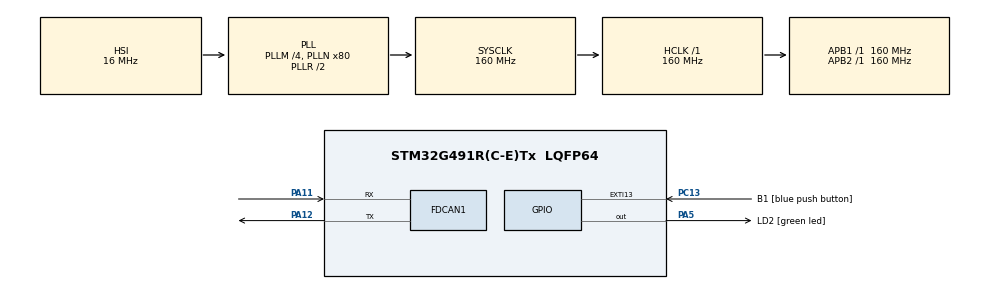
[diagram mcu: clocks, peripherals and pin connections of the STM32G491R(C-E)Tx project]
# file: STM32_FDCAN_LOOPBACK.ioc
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FDCAN1.CalculateBaudRateNominal=50000
FDCAN1.CalculateTimeBitNominal=20000
FDCAN1.CalculateTimeQuantumNominal=800.0
FDCAN1.DataPrescaler=32
FDCAN1.DataSyncJumpWidth=3
FDCAN1.DataTimeSeg1=20
FDCAN1.DataTimeSeg2=4
FDCAN1.FrameFormat=FDCAN_FRAME_FD_NO_BRS
FDCAN1.Mode=FDCAN_MODE_INTERNAL_LOOPBACK
FDCAN1.NominalPrescaler=32
FDCAN1.NominalSyncJumpWidth=3
FDCAN1.NominalTimeSeg1=20
FDCAN1.NominalTimeSeg2=4
FDCAN1.StdFiltersNbr=1
Mcu.Family=STM32G4
Mcu.Name=STM32G491R(C-E)Tx
Mcu.Package=LQFP64
NVIC.EXTI15_10_IRQn=true\:0\:0\:false\:false\:true\:true\:true\:true
NVIC.FDCAN1_IT0_IRQn=true\:0\:0\:false\:false\:true\:true\:true\:true
NVIC.FDCAN1_IT1_IRQn=true\:0\:0\:false\:false\:true\:true\:true\:true
NVIC.PriorityGroup=NVIC_PRIORITYGROUP_4
PA11.Mode=FDCAN_Activate
PA11.Signal=FDCAN1_RX
PA12.Mode=FDCAN_Activate
PA12.Signal=FDCAN1_TX
PA13.GPIO_Label=T_SWDIO
PA13.Signal=SYS_JTMS-SWDIO
PA14.GPIO_Label=T_SWCLK
PA14.Signal=SYS_JTCK-SWCLK
PA2.GPIO_Label=LPUART1_TX [STLINKV3E_VCP_RX]
PA2.Signal=LPUART1_TX
PA3.GPIO_Label=LPUART1_RX [STLINKV3E_VCP_TX]
PA3.Signal=LPUART1_RX
PA5.GPIO_Label=LD2 [green led]
PA5.Signal=GPIO_Output
PB3.GPIO_Label=T_SWO
PB3.Signal=SYS_JTDO-SWO
PC13.GPIO_Label=B1 [blue push button]
PC13.Signal=GPXTI13
PC14-OSC32_IN.GPIO_Label=RCC_OSC32_IN
PC14-OSC32_IN.Signal=RCC_OSC32_IN
PC15-OSC32_OUT.GPIO_Label=RCC_OSC32_OUT
PC15-OSC32_OUT.Signal=RCC_OSC32_OUT
PF0-OSC_IN.GPIO_Label=RCC_OSC_IN
PF0-OSC_IN.Signal=RCC_OSC_IN
PF1-OSC_OUT.GPIO_Label=RCC_OSC_OUT
PF1-OSC_OUT.Signal=RCC_OSC_OUT
ProjectManager.HeapSize=0x200
ProjectManager.StackSize=0x400
ProjectManager.TargetToolchain=STM32CubeIDE
RCC.ADC12Freq_Value=160000000
RCC.ADC345Freq_Value=160000000
RCC.AHBFreq_Value=160000000
RCC.APB1Freq_Value=160000000
RCC.APB1TimFreq_Value=160000000
RCC.APB2Freq_Value=160000000
RCC.APB2TimFreq_Value=160000000
RCC.CortexFreq_Value=160000000
RCC.EXTERNAL_CLOCK_VALUE=12288000
RCC.FDCANCLockSelection=RCC_FDCANCLKSOURCE_PLL
RCC.HCLKFreq_Value=160000000
RCC.HSE_VALUE=24000000
RCC.HSI48_VALUE=48000000
RCC.HSI_VALUE=16000000
RCC.LSE_VALUE=32768
RCC.PLLM=RCC_PLLM_DIV4
RCC.PLLN=80
RCC.PLLQ=RCC_PLLQ_DIV8
RCC.RTCClockSelection=RCC_RTCCLKSOURCE_LSE
RCC.SYSCLKFreq_VALUE=160000000
RCC.SYSCLKSource=RCC_SYSCLKSOURCE_PLLCLK
RCC.USBFreq_Value=48000000
RCC.VCOOutputFreq_Value=320000000
VP_SYS_VS_DBSignals.Mode=DisableDeadBatterySignals
board=NUCLEO-G491RE

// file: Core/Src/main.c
/* USER CODE BEGIN Header */
/**
  ******************************************************************************
  * @file           : main.c
  * @brief          : Main program body
  ******************************************************************************
  * @attention
  *
  * Copyright (c) 2025 STMicroelectronics.
  * All rights reserved.
  *
  * This software is licensed under terms that can be found in the LICENSE file
  * in the root directory of this software component.
  * If no LICENSE file comes with this software, it is provided AS-IS.
  *
  ******************************************************************************
  */
/* USER CODE END Header */
#include "main.h"

/* USER CODE BEGIN Includes */
uint8_t  Tx[10];
uint8_t  Rx[10];

static FDCAN_TxHeaderTypeDef   Tx_header;
/* USER CODE END Includes */

/* USER CODE BEGIN PTD */
void HAL_FDCAN_RxFifo0Callback(FDCAN_HandleTypeDef *hfdcan, uint32_t RxFifo0ITs)
{
  FDCAN_RxHeaderTypeDef   RxHeader;
  if((RxFifo0ITs & FDCAN_IT_RX_FIFO0_NEW_MESSAGE) != RESET)
  {
    /* Retreive Rx messages from RX FIFO0 */
    if (HAL_FDCAN_GetRxMessage(hfdcan, FDCAN_RX_FIFO0, &RxHeader, Rx) != HAL_OK)
    {
    /* Reception Error */
    Error_Handler();
    }
    if (HAL_FDCAN_ActivateNotification(hfdcan, FDCAN_IT_RX_FIFO0_NEW_MESSAGE, 0) != HAL_OK)
    {
      /* Notification Error */
      Error_Handler();
    }
  }
}
/* USER CODE END PTD */

FDCAN_HandleTypeDef hfdcan1;

void SystemClock_Config(void);
static void MX_GPIO_Init(void);
static void MX_FDCAN1_Init(void);

int main(void)
{

  /* MCU Configuration--------------------------------------------------------*/

  /* Reset of all peripherals, Initializes the Flash interface and the Systick. */
  HAL_Init();

  /* Configure the system clock */
  SystemClock_Config();

  /* Initialize all configured peripherals */
  MX_GPIO_Init();
  MX_FDCAN1_Init();
  /* USER CODE BEGIN 2 */
  if(HAL_FDCAN_Start(&hfdcan1)!= HAL_OK)
  {
	  Error_Handler();
  }
  if (HAL_FDCAN_ActivateNotification(&hfdcan1, FDCAN_IT_RX_FIFO0_NEW_MESSAGE, 0) != HAL_OK)
  {
    /* Notification Error */
    Error_Handler();
  }
  /* USER CODE END 2 */

  /* Infinite loop */
  /* USER CODE BEGIN WHILE */
  while (1)
  {
	  for (int i=0; i<12; i++)
	  {
	   Tx[i] ++;
	  }

	  if (HAL_FDCAN_AddMessageToTxFifoQ(&hfdcan1, &Tx_header, Tx)!= HAL_OK)
	  {
	   Error_Handler();
	  }
	  HAL_Delay (1000);

    /* USER CODE END WHILE */

  }
}

void SystemClock_Config(void)
{
  RCC_OscInitTypeDef RCC_OscInitStruct = {0};
  RCC_ClkInitTypeDef RCC_ClkInitStruct = {0};

  /** Configure the main internal regulator output voltage
  */
  HAL_PWREx_ControlVoltageScaling(PWR_REGULATOR_VOLTAGE_SCALE1_BOOST);

  /** Initializes the RCC Oscillators according to the specified parameters
  * in the RCC_OscInitTypeDef structure.
  */
  RCC_OscInitStruct.OscillatorType = RCC_OSCILLATORTYPE_HSI;
  RCC_OscInitStruct.HSIState = RCC_HSI_ON;
  RCC_OscInitStruct.HSICalibrationValue = RCC_HSICALIBRATION_DEFAULT;
  RCC_OscInitStruct.PLL.PLLState = RCC_PLL_ON;
  RCC_OscInitStruct.PLL.PLLSource = RCC_PLLSOURCE_HSI;
  RCC_OscInitStruct.PLL.PLLM = RCC_PLLM_DIV4;
  RCC_OscInitStruct.PLL.PLLN = 80;
  RCC_OscInitStruct.PLL.PLLP = RCC_PLLP_DIV2;
  RCC_OscInitStruct.PLL.PLLQ = RCC_PLLQ_DIV8;
  RCC_OscInitStruct.PLL.PLLR = RCC_PLLR_DIV2;
  if (HAL_RCC_OscConfig(&RCC_OscInitStruct) != HAL_OK)
  {
    Error_Handler();
  }

  /** Initializes the CPU, AHB and APB buses clocks
  */
  RCC_ClkInitStruct.ClockType = RCC_CLOCKTYPE_HCLK|RCC_CLOCKTYPE_SYSCLK
                              |RCC_CLOCKTYPE_PCLK1|RCC_CLOCKTYPE_PCLK2;
  RCC_ClkInitStruct.SYSCLKSource = RCC_SYSCLKSOURCE_PLLCLK;
  RCC_ClkInitStruct.AHBCLKDivider = RCC_SYSCLK_DIV1;
  RCC_ClkInitStruct.APB1CLKDivider = RCC_HCLK_DIV1;
  RCC_ClkInitStruct.APB2CLKDivider = RCC_HCLK_DIV1;

  if (HAL_RCC_ClockConfig(&RCC_ClkInitStruct, FLASH_LATENCY_4) != HAL_OK)
  {
    Error_Handler();
  }
}

static void MX_FDCAN1_Init(void)
{

  /* USER CODE BEGIN FDCAN1_Init 0 */
  FDCAN_FilterTypeDef filter_config;
  /* USER CODE END FDCAN1_Init 0 */

  hfdcan1.Instance = FDCAN1;
  hfdcan1.Init.ClockDivider = FDCAN_CLOCK_DIV1;
  hfdcan1.Init.FrameFormat = FDCAN_FRAME_FD_NO_BRS;
  hfdcan1.Init.Mode = FDCAN_MODE_INTERNAL_LOOPBACK;
  hfdcan1.Init.AutoRetransmission = DISABLE;
  hfdcan1.Init.TransmitPause = DISABLE;
  hfdcan1.Init.ProtocolException = DISABLE;
  hfdcan1.Init.NominalPrescaler = 32;
  hfdcan1.Init.NominalSyncJumpWidth = 3;
  hfdcan1.Init.NominalTimeSeg1 = 20;
  hfdcan1.Init.NominalTimeSeg2 = 4;
  hfdcan1.Init.DataPrescaler = 32;
  hfdcan1.Init.DataSyncJumpWidth = 3;
  hfdcan1.Init.DataTimeSeg1 = 20;
  hfdcan1.Init.DataTimeSeg2 = 4;
  hfdcan1.Init.StdFiltersNbr = 1;
  hfdcan1.Init.ExtFiltersNbr = 0;
  hfdcan1.Init.TxFifoQueueMode = FDCAN_TX_FIFO_OPERATION;
  if (HAL_FDCAN_Init(&hfdcan1) != HAL_OK)
  {
    Error_Handler();
  }
  /* USER CODE BEGIN FDCAN1_Init 2 */
  filter_config.FilterConfig = FDCAN_FILTER_TO_RXFIFO0;
  filter_config.FilterID1 = 0x77;
  filter_config.FilterID2 = 0x77;
  filter_config.FilterIndex = 0;
  filter_config.FilterType = FDCAN_FILTER_MASK;
  filter_config.IdType = FDCAN_STANDARD_ID;

  if (HAL_FDCAN_ConfigFilter(&hfdcan1, &filter_config) != HAL_OK)
    {
      /* Filter configuration Error */
      Error_Handler();
    }

  Tx_header.Identifier = 0x77;
  Tx_header.IdType = FDCAN_STANDARD_ID;
  Tx_header.TxFrameType = FDCAN_DATA_FRAME;
  Tx_header.DataLength = FDCAN_DLC_BYTES_12;
  Tx_header.ErrorStateIndicator = FDCAN_ESI_ACTIVE;
  Tx_header.BitRateSwitch = FDCAN_BRS_OFF;
  Tx_header.FDFormat = FDCAN_FD_CAN;
  Tx_header.TxEventFifoControl = FDCAN_NO_TX_EVENTS;
  Tx_header.MessageMarker = 0;

  /* USER CODE END FDCAN1_Init 2 */

}

static void MX_GPIO_Init(void)
{
  GPIO_InitTypeDef GPIO_InitStruct = {0};

  /* GPIO Ports Clock Enable */
  __HAL_RCC_GPIOC_CLK_ENABLE();
  __HAL_RCC_GPIOF_CLK_ENABLE();
  __HAL_RCC_GPIOA_CLK_ENABLE();
  __HAL_RCC_GPIOB_CLK_ENABLE();

  /*Configure GPIO pin Output Level */
  HAL_GPIO_WritePin(LD2_GPIO_Port, LD2_Pin, GPIO_PIN_RESET);

  /*Configure GPIO pin : B1_Pin */
  GPIO_InitStruct.Pin = B1_Pin;
  GPIO_InitStruct.Mode = GPIO_MODE_IT_RISING;
  GPIO_InitStruct.Pull = GPIO_NOPULL;
  HAL_GPIO_Init(B1_GPIO_Port, &GPIO_InitStruct);

  /*Configure GPIO pins : LPUART1_TX_Pin LPUART1_RX_Pin */
  GPIO_InitStruct.Pin = LPUART1_TX_Pin|LPUART1_RX_Pin;
  GPIO_InitStruct.Mode = GPIO_MODE_AF_PP;
  GPIO_InitStruct.Pull = GPIO_NOPULL;
  GPIO_InitStruct.Speed = GPIO_SPEED_FREQ_LOW;
  GPIO_InitStruct.Alternate = GPIO_AF12_LPUART1;
  HAL_GPIO_Init(GPIOA, &GPIO_InitStruct);

  /*Configure GPIO pin : LD2_Pin */
  GPIO_InitStruct.Pin = LD2_Pin;
  GPIO_InitStruct.Mode = GPIO_MODE_OUTPUT_PP;
  GPIO_InitStruct.Pull = GPIO_NOPULL;
  GPIO_InitStruct.Speed = GPIO_SPEED_FREQ_LOW;
  HAL_GPIO_Init(LD2_GPIO_Port, &GPIO_InitStruct);

  /* EXTI interrupt init*/
  HAL_NVIC_SetPriority(EXTI15_10_IRQn, 0, 0);
  HAL_NVIC_EnableIRQ(EXTI15_10_IRQn);

}

void Error_Handler(void)
{
  __disable_irq();
  while (1)
  {
  }
}
